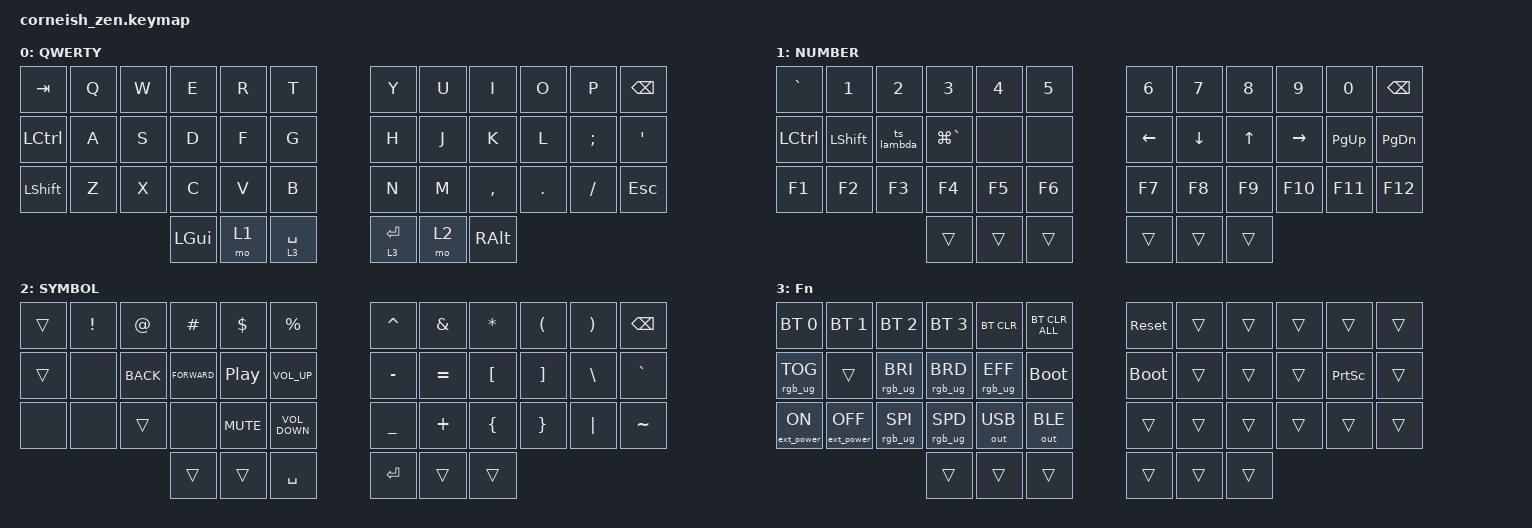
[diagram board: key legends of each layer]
/*
 * Copyright (c) 2020 The ZMK Contributors
 *
 * SPDX-License-Identifier: MIT
 */

#include <behaviors.dtsi>
#include <dt-bindings/zmk/bt.h>
#include <dt-bindings/zmk/ext_power.h>
#include <dt-bindings/zmk/keys.h>
#include <dt-bindings/zmk/outputs.h>
#include <dt-bindings/zmk/rgb.h>

/ {
    chosen {
        zmk,matrix_transform = &default_transform;

        // zmk,matrix_transform = &five_column_transform;
    };
};

/ {
    behaviors {
        td0: td0 {
            compatible = "zmk,behavior-tap-dance";
            label = "TD0";
            #binding-cells = <0>;
            bindings = <&kp LEFT_SHIFT>, <&kp CAPS>;
        };
    };

    macros {
        ts_lambda: ts_lambda {
            compatible = "zmk,behavior-macro";
            #binding-cells = <0>;
            bindings = <&kp LPAR &kp RPAR &kp EQUAL &kp GT>;
            label = "TS_LAMBDA";
        };
    };

    keymap {
        compatible = "zmk,keymap";

        default_layer {
            display-name = "QWERTY";

            // --------------------------------------------------------------------------------
            // |  TAB |  Q  |  W  |  E  |  R  |  T  |   |  Y  |  U   |  I  |  O  |  P  | BKSP |
            // | CTRL |  A  |  S  |  D  |  F  |  G  |   |  H  |  J   |  K  |  L  |  ;  |  '   | 
            // | SHFT |  Z  |  X  |  C  |  V  |  B  |   |  N  |  M   |  ,  |  .  |  /  | ESC  |
            //                    | GUI | LWR | SPC |   | ENT | RSE  | ALT |

            bindings = <
&kp TAB         &kp Q  &kp W  &kp E     &kp R  &kp T          &kp Y        &kp U  &kp I      &kp O    &kp P     &kp BSPC
&kp LCTRL       &kp A  &kp S  &kp D     &kp F  &kp G          &kp H        &kp J  &kp K      &kp L    &kp SEMI  &kp SQT
&kp LEFT_SHIFT  &kp Z  &kp X  &kp C     &kp V  &kp B          &kp N        &kp M  &kp COMMA  &kp DOT  &kp FSLH  &kp ESC
                              &kp LGUI  &mo 1  &lt 3 SPACE    &lt 3 ENTER  &mo 2  &kp RALT
            >;
        };

        lower_layer {
            display-name = "NUMBER";

            // -----------------------------------------------------------------------------------------
            // |  TAB |  1  |  2  |  3  |  4  |  5  |   |  6  |  7  |  8  |  9  |  0  | BKSP |
            // | BTCLR| BT1 | BT2 | BT3 | BT4 | BT5 |   | LFT | DWN |  UP | RGT |     |      |
            // | SHFT |     |     |     |     |     |   |     |     |     |     |     |      |
            //                    | GUI |     | SPC |   | ENT |     | ALT |

            bindings = <
&kp GRAVE  &kp N1          &kp N2      &kp N3         &kp N4  &kp N5    &kp N6    &kp N7    &kp N8  &kp N9     &kp N0     &kp BSPC
&kp LCTRL  &kp LEFT_SHIFT  &ts_lambda  &kp LG(GRAVE)  &none   &none     &kp LEFT  &kp DOWN  &kp UP  &kp RIGHT  &kp PG_UP  &kp PG_DN
&kp F1     &kp F2          &kp F3      &kp F4         &kp F5  &kp F6    &kp F7    &kp F8    &kp F9  &kp F10    &kp F11    &kp F12
                                       &trans         &trans  &trans    &trans    &trans    &trans
            >;
        };

        raise_layer {
            display-name = "SYMBOL";

            // -----------------------------------------------------------------------------------------
            // |  TAB |  !  |  @  |  #  |  $  |  %  |   |  ^  |  &  |  *  |  (  |  )  | BKSP |
            // | CTRL |     |     |     |     |     |   |  -  |  =  |  [  |  ]  |  \  |  `   |
            // | SHFT |     |     |     |     |     |   |  _  |  +  |  {  |  }  | "|" |  ~   |
            //                    | GUI |     | SPC |   | ENT |     | ALT |

            bindings = <
&trans  &kp EXCL  &kp AT      &kp HASH       &kp DLLR          &kp PRCNT            &kp CARET  &kp AMPS   &kp ASTRK  &kp LPAR  &kp RPAR  &kp BSPC
&trans  &none     &kp K_BACK  &kp K_FORWARD  &kp C_PLAY_PAUSE  &kp C_VOLUME_UP      &kp MINUS  &kp EQUAL  &kp LBKT   &kp RBKT  &kp BSLH  &kp GRAVE
&none   &none     &trans      &none          &kp K_MUTE        &kp C_VOLUME_DOWN    &kp UNDER  &kp PLUS   &kp LBRC   &kp RBRC  &kp PIPE  &kp TILDE
                              &trans         &trans            &kp SPACE            &kp RET    &trans     &trans
            >;
        };

        layer_3 {
            display-name = "Fn";
            bindings = <
&bt BT_SEL 0      &bt BT_SEL 1       &bt BT_SEL 2     &bt BT_SEL 3     &bt BT_CLR       &bt BT_CLR_ALL    &sys_reset   &trans  &trans  &trans  &trans           &trans
&rgb_ug RGB_TOG   &trans             &rgb_ug RGB_BRI  &rgb_ug RGB_BRD  &rgb_ug RGB_EFF  &bootloader       &bootloader  &trans  &trans  &trans  &kp PRINTSCREEN  &trans
&ext_power EP_ON  &ext_power EP_OFF  &rgb_ug RGB_SPI  &rgb_ug RGB_SPD  &out OUT_USB     &out OUT_BLE      &trans       &trans  &trans  &trans  &trans           &trans
                                                      &trans           &trans           &trans            &trans       &trans  &trans
            >;
        };
    };
};
